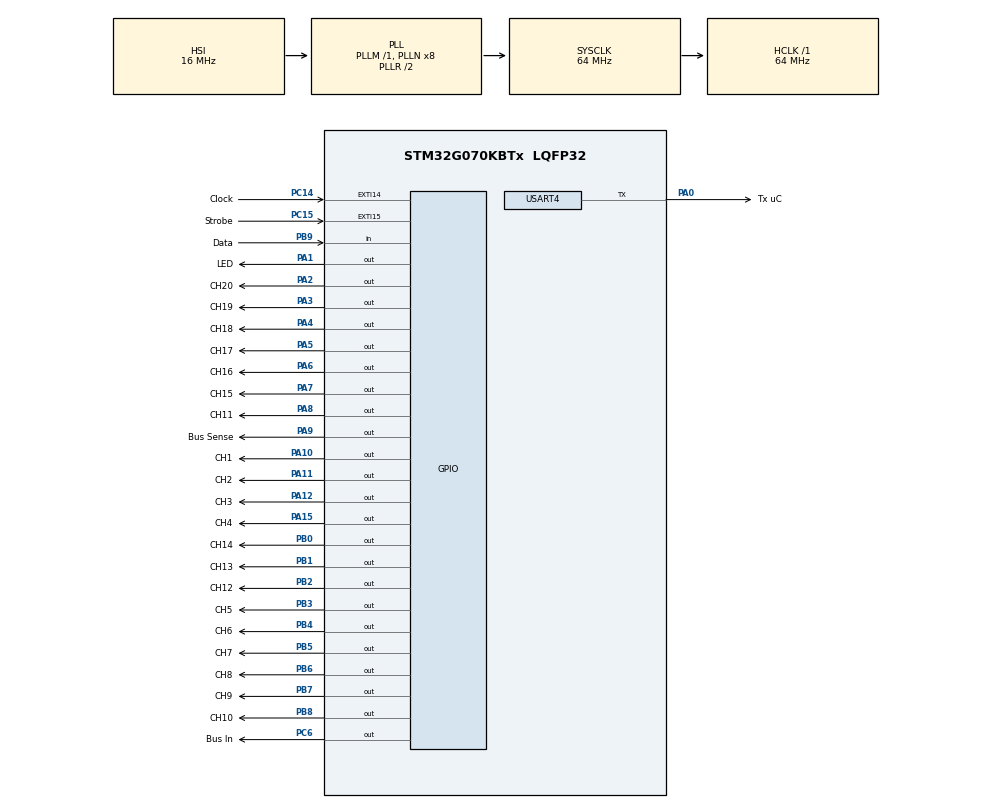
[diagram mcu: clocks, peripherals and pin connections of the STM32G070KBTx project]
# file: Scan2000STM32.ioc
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Dma.Request0=USART4_TX
Dma.USART4_TX.0.Direction=DMA_MEMORY_TO_PERIPH
Dma.USART4_TX.0.EventEnable=DISABLE
Dma.USART4_TX.0.Instance=DMA1_Channel1
Dma.USART4_TX.0.MemDataAlignment=DMA_MDATAALIGN_BYTE
Dma.USART4_TX.0.MemInc=DMA_MINC_ENABLE
Dma.USART4_TX.0.Mode=DMA_NORMAL
Dma.USART4_TX.0.PeriphDataAlignment=DMA_PDATAALIGN_BYTE
Dma.USART4_TX.0.PeriphInc=DMA_PINC_DISABLE
Dma.USART4_TX.0.Polarity=HAL_DMAMUX_REQ_GEN_RISING
Dma.USART4_TX.0.Priority=DMA_PRIORITY_LOW
Dma.USART4_TX.0.RequestNumber=1
Dma.USART4_TX.0.SignalID=NONE
Dma.USART4_TX.0.SyncEnable=DISABLE
Dma.USART4_TX.0.SyncPolarity=HAL_DMAMUX_SYNC_NO_EVENT
Dma.USART4_TX.0.SyncRequestNumber=1
Dma.USART4_TX.0.SyncSignalID=NONE
Mcu.Family=STM32G0
Mcu.Name=STM32G070KBTx
Mcu.Package=LQFP32
NVIC.DMA1_Channel1_IRQn=true\:0\:0\:true\:false\:true\:false\:true\:true
NVIC.EXTI4_15_IRQn=true\:1\:0\:true\:false\:true\:true\:true\:true
NVIC.USART3_4_IRQn=true\:0\:0\:false\:false\:true\:true\:true\:true
PA0.GPIO_Label=Tx uC
PA0.GPIO_ModeDefaultOD=GPIO_MODE_AF_OD
PA0.GPIO_PuPdOD=GPIO_PULLUP
PA0.Mode=Half_duplex(single_wire_mode)
PA0.Signal=USART4_TX
PA1.GPIO_Label=LED
PA1.GPIO_Speed=GPIO_SPEED_FREQ_VERY_HIGH
PA1.Signal=GPIO_Output
PA10.GPIO_Label=CH1
PA10.Signal=GPIO_Output
PA11\ [PA9].GPIO_Label=CH2
PA11\ [PA9].Signal=GPIO_Output
PA12\ [PA10].GPIO_Label=CH3
PA12\ [PA10].Signal=GPIO_Output
PA13.GPIO_Label=Prog SWDIO
PA13.Mode=Serial_Wire
PA13.Signal=SYS_SWDIO
PA14-BOOT0.GPIO_Label=Prog SWCLK
PA14-BOOT0.Mode=Serial_Wire
PA14-BOOT0.Signal=SYS_SWCLK
PA15.GPIO_Label=CH4
PA15.Signal=GPIO_Output
PA2.GPIO_Label=CH20
PA2.Signal=GPIO_Output
PA3.GPIO_Label=CH19
PA3.Signal=GPIO_Output
PA4.GPIO_Label=CH18
PA4.Signal=GPIO_Output
PA5.GPIO_Label=CH17
PA5.Signal=GPIO_Output
PA6.GPIO_Label=CH16
PA6.Signal=GPIO_Output
PA7.GPIO_Label=CH15
PA7.Signal=GPIO_Output
PA8.GPIO_Label=CH11
PA8.Signal=GPIO_Output
PA9.GPIO_Label=Bus Sense
PA9.Signal=GPIO_Output
PB0.GPIO_Label=CH14
PB0.Signal=GPIO_Output
PB1.GPIO_Label=CH13
PB1.Signal=GPIO_Output
PB2.GPIO_Label=CH12
PB2.Signal=GPIO_Output
PB3.GPIO_Label=CH5
PB3.Signal=GPIO_Output
PB4.GPIO_Label=CH6
PB4.Signal=GPIO_Output
PB5.GPIO_Label=CH7
PB5.Signal=GPIO_Output
PB6.GPIO_Label=CH8
PB6.Signal=GPIO_Output
PB7.GPIO_Label=CH9
PB7.Signal=GPIO_Output
PB8.GPIO_Label=CH10
PB8.Signal=GPIO_Output
PB9.GPIO_Label=Data
PB9.Signal=GPIO_Input
PC14-OSC32_IN\ (PC14).GPIO_Label=Clock
PC14-OSC32_IN\ (PC14).GPIO_ModeDefaultEXTI=GPIO_MODE_IT_RISING
PC14-OSC32_IN\ (PC14).Signal=GPXTI14
PC15-OSC32_OUT\ (PC15).GPIO_Label=Strobe
PC15-OSC32_OUT\ (PC15).GPIO_ModeDefaultEXTI=GPIO_MODE_IT_RISING
PC15-OSC32_OUT\ (PC15).Signal=GPXTI15
PC6.GPIO_Label=Bus In
PC6.Signal=GPIO_Output
ProjectManager.HeapSize=0x200
ProjectManager.StackSize=0x400
ProjectManager.TargetToolchain=Makefile
RCC.ADCFreq_Value=64000000
RCC.AHBFreq_Value=64000000
RCC.CortexFreq_Value=64000000
RCC.EXTERNAL_CLOCK_VALUE=48000
RCC.HCLKFreq_Value=64000000
RCC.HSE_VALUE=8000000
RCC.HSI_VALUE=16000000
RCC.LSE_VALUE=32768
RCC.SYSCLKFreq_VALUE=64000000
RCC.SYSCLKSource=RCC_SYSCLKSOURCE_PLLCLK
RCC.VCOOutputFreq_Value=128000000
USART4.Mode=MODE_TX
USART4.VirtualMode-Half_duplex(single_wire_mode)=VM_ASYNC
VP_SYS_VS_DBSignals.Mode=DisableDeadBatterySignals
board=custom

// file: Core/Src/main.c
/* USER CODE BEGIN Header */
/**
  ******************************************************************************
  * @file           : main.c
  * @brief          : Main program body
  ******************************************************************************
  * @attention
  *
  * <h2><center>&copy; Copyright (c) 2021 STMicroelectronics.
  * All rights reserved.</center></h2>
  *
  * This software component is licensed by ST under BSD 3-Clause license,
  * the "License"; You may not use this file except in compliance with the
  * License. You may obtain a copy of the License at:
  *                        opensource.org/licenses/BSD-3-Clause
  *
  ******************************************************************************
  */
/* USER CODE END Header */
#include "main.h"

/* USER CODE BEGIN Includes */
#include "decoder.h"
#include <stdbool.h>
#include <stdint.h>
#include <stdio.h>
#include <string.h>
/* USER CODE END Includes */

/* USER CODE BEGIN PD */

// if LOGLEVEL < 3 is set:
// * logs some additional debug info
#ifndef LOGLEVEL
#define LOGLEVEL 3  // Warning
#endif

#ifndef VERSION
  #define VERSION "Unknown"
#endif
// Double-expansion required to stringify the version string later
#define STR1(x)  #x
#define STR(x)  STR1(x)

// Workaround since newlib-nano does not support uint64_t in printf()
#define PRI_UINT64_C_Val(value) ((unsigned long) (value>>32)),((unsigned long)value)
#define PRI_UINT64 "%08lx %08lx"

/* USER CODE END PD */

UART_HandleTypeDef huart4;
DMA_HandleTypeDef hdma_usart4_tx;

/* USER CODE BEGIN PV */
// set by both the interrupt handler and the main loop, used by the main loop
volatile uint32_t timeSinceLastClock = 0;
// below are all maintained and used by the interrupt handler.
uint64_t receivedSequence = 0;
volatile uint8_t receivedCounter = 0; // also read by the main loop
volatile uint32_t channelState = 0;
uint8_t uartsinglemessage[256], uartbuffer[2000], uartTransmitBuffer[2000];

// Pin mapping of the output pins to the relays
GPIO_TypeDef* GPIOsequence[] = {CH1_GPIO_Port, CH2_GPIO_Port, CH3_GPIO_Port, CH4_GPIO_Port, CH5_GPIO_Port, CH6_GPIO_Port, CH7_GPIO_Port, CH8_GPIO_Port, CH9_GPIO_Port, CH10_GPIO_Port, CH11_GPIO_Port, CH12_GPIO_Port, CH13_GPIO_Port, CH14_GPIO_Port, CH15_GPIO_Port, CH16_GPIO_Port, CH17_GPIO_Port, CH18_GPIO_Port, CH19_GPIO_Port, CH20_GPIO_Port};
uint32_t PinSequence[] = {CH1_Pin, CH2_Pin, CH3_Pin, CH4_Pin, CH5_Pin, CH6_Pin, CH7_Pin, CH8_Pin, CH9_Pin, CH10_Pin, CH11_Pin, CH12_Pin, CH13_Pin, CH14_Pin, CH15_Pin, CH16_Pin, CH17_Pin, CH18_Pin, CH19_Pin, CH20_Pin};

// channelState is 32 bit, and is organised in sequence: 0 = CH1 ... 19=CH20, 20 = 4W
// The following bitmasks are for the channelState
#define CHANNELSTATE_BITMASK_BANK1 0x003FF
#define CHANNELSTATE_BITMASK_BANK2 0xFFC00
#define CHANNELSTATE_BITMASK_4W 0x100000

// The interrupt handler IS NOT ALLOWED TO BLOCK. Therefore, we log messages in a buffer that we print from the main loop.
struct msgInfo {
  enum {msgUnknown = 0, msgOK, msgIgnored, msgLengthError, msgDataError, msgRelayError} state;
  uint8_t receivedCounter;
  uint64_t receivedSequence;
  uint32_t channelState;
  uint32_t timestamp;
};

// circular buffer for messages, used between interrupt handler and main loop
struct msgInfo msgBuffer[UINT8_MAX+1]; // The number of elements is set by the datatype of msgReadLevel/msgWriteLevel
uint8_t msgReadLevel; // to be set only from the main loop.
volatile uint8_t msgWriteLevel; // to be set only from the interrupt handler

/* USER CODE END PV */

void SystemClock_Config(void);
static void MX_GPIO_Init(void);
static void MX_DMA_Init(void);
static void MX_USART4_UART_Init(void);
/* USER CODE BEGIN PFP */
void UARTSendDMA(void);
static void MsgBuffer_Init(void);
static void MsgBuffer_add(struct msgInfo msg); // to be called only from the interrupt handler
static void MsgBuffer_print(void);

#ifdef __GNUC__
/* With GCC/RAISONANCE, small printf (option LD Linker->Libraries->Small printf
   set to 'Yes') calls __io_putchar() */
#define PUTCHAR_PROTOTYPE int __io_putchar(int ch)
extern int __io_putchar(int ch) __attribute__((weak));
#else
#define PUTCHAR_PROTOTYPE int fputc(int ch, FILE *f)
#endif /* __GNUC__ */
/* USER CODE END PFP */

int main(void)
{

  /* MCU Configuration--------------------------------------------------------*/

  /* Reset of all peripherals, Initializes the Flash interface and the Systick. */
  HAL_Init();

  /* Configure the system clock */
  SystemClock_Config();

  /* Initialize all configured peripherals */
  MX_GPIO_Init();
  MX_DMA_Init();
  MX_USART4_UART_Init();
  /* USER CODE BEGIN 2 */
  //__HAL_DMA_DISABLE_IT(huart4.hdmarx, DMA_IT_HT); // Disable Half Transfer Interrupt
  MsgBuffer_Init();
  printf("\n===============\nBooting, SCAN2000-20 FW version " STR(VERSION) "\n");
  for (uint8_t i=0; i < 6; i++) {
    HAL_Delay(100); // sleep for 100 ms
    HAL_GPIO_TogglePin(LED_GPIO_Port, LED_Pin);
  }
  HAL_GPIO_WritePin(LED_GPIO_Port, LED_Pin, GPIO_PIN_RESET); // led off
#if LOGLEVEL < 2
  printf("Log level: DEBUG\n");
#elif LOGLEVEL < 3
    printf("Log level: INFO\n");
#endif
  /* USER CODE END 2 */

  /* Infinite loop */
  /* USER CODE BEGIN WHILE */
  while (1)
  {
    MsgBuffer_print();
    /* USER CODE END WHILE */

  }
}

void SystemClock_Config(void)
{
  RCC_OscInitTypeDef RCC_OscInitStruct = {0};
  RCC_ClkInitTypeDef RCC_ClkInitStruct = {0};

  /** Configure the main internal regulator output voltage
  */
  HAL_PWREx_ControlVoltageScaling(PWR_REGULATOR_VOLTAGE_SCALE1);

  /** Initializes the RCC Oscillators according to the specified parameters
  * in the RCC_OscInitTypeDef structure.
  */
  RCC_OscInitStruct.OscillatorType = RCC_OSCILLATORTYPE_HSI;
  RCC_OscInitStruct.HSIState = RCC_HSI_ON;
  RCC_OscInitStruct.HSIDiv = RCC_HSI_DIV1;
  RCC_OscInitStruct.HSICalibrationValue = RCC_HSICALIBRATION_DEFAULT;
  RCC_OscInitStruct.PLL.PLLState = RCC_PLL_ON;
  RCC_OscInitStruct.PLL.PLLSource = RCC_PLLSOURCE_HSI;
  RCC_OscInitStruct.PLL.PLLM = RCC_PLLM_DIV1;
  RCC_OscInitStruct.PLL.PLLN = 8;
  RCC_OscInitStruct.PLL.PLLP = RCC_PLLP_DIV2;
  RCC_OscInitStruct.PLL.PLLR = RCC_PLLR_DIV2;
  if (HAL_RCC_OscConfig(&RCC_OscInitStruct) != HAL_OK)
  {
    Error_Handler();
  }

  /** Initializes the CPU, AHB and APB buses clocks
  */
  RCC_ClkInitStruct.ClockType = RCC_CLOCKTYPE_HCLK|RCC_CLOCKTYPE_SYSCLK
                              |RCC_CLOCKTYPE_PCLK1;
  RCC_ClkInitStruct.SYSCLKSource = RCC_SYSCLKSOURCE_PLLCLK;
  RCC_ClkInitStruct.AHBCLKDivider = RCC_SYSCLK_DIV1;
  RCC_ClkInitStruct.APB1CLKDivider = RCC_HCLK_DIV1;

  if (HAL_RCC_ClockConfig(&RCC_ClkInitStruct, FLASH_LATENCY_2) != HAL_OK)
  {
    Error_Handler();
  }
}

static void MX_USART4_UART_Init(void)
{

  huart4.Instance = USART4;
  huart4.Init.BaudRate = 115200;
  huart4.Init.WordLength = UART_WORDLENGTH_8B;
  huart4.Init.StopBits = UART_STOPBITS_1;
  huart4.Init.Parity = UART_PARITY_NONE;
  huart4.Init.Mode = UART_MODE_TX;
  huart4.Init.HwFlowCtl = UART_HWCONTROL_NONE;
  huart4.Init.OverSampling = UART_OVERSAMPLING_16;
  huart4.Init.OneBitSampling = UART_ONE_BIT_SAMPLE_DISABLE;
  huart4.Init.ClockPrescaler = UART_PRESCALER_DIV1;
  huart4.AdvancedInit.AdvFeatureInit = UART_ADVFEATURE_NO_INIT;
  if (HAL_HalfDuplex_Init(&huart4) != HAL_OK)
  {
    Error_Handler();
  }

}

static void MX_DMA_Init(void)
{

  /* DMA controller clock enable */
  __HAL_RCC_DMA1_CLK_ENABLE();

  /* DMA interrupt init */
  /* DMA1_Channel1_IRQn interrupt configuration */
  HAL_NVIC_SetPriority(DMA1_Channel1_IRQn, 0, 0);
  HAL_NVIC_EnableIRQ(DMA1_Channel1_IRQn);

}

static void MX_GPIO_Init(void)
{
  GPIO_InitTypeDef GPIO_InitStruct = {0};

  /* GPIO Ports Clock Enable */
  __HAL_RCC_GPIOB_CLK_ENABLE();
  __HAL_RCC_GPIOC_CLK_ENABLE();
  __HAL_RCC_GPIOA_CLK_ENABLE();

  /*Configure GPIO pin Output Level */
  HAL_GPIO_WritePin(GPIOA, LED_Pin|CH20_Pin|CH19_Pin|CH18_Pin
                          |CH17_Pin|CH16_Pin|CH15_Pin|CH11_Pin
                          |Bus_Sense_Pin|CH1_Pin|CH2_Pin|CH3_Pin
                          |CH4_Pin, GPIO_PIN_RESET);

  /*Configure GPIO pin Output Level */
  HAL_GPIO_WritePin(GPIOB, CH14_Pin|CH13_Pin|CH12_Pin|CH5_Pin
                          |CH6_Pin|CH7_Pin|CH8_Pin|CH9_Pin
                          |CH10_Pin, GPIO_PIN_RESET);

  /*Configure GPIO pin Output Level */
  HAL_GPIO_WritePin(Bus_In_GPIO_Port, Bus_In_Pin, GPIO_PIN_RESET);

  /*Configure GPIO pin : Data_Pin */
  GPIO_InitStruct.Pin = Data_Pin;
  GPIO_InitStruct.Mode = GPIO_MODE_INPUT;
  GPIO_InitStruct.Pull = GPIO_NOPULL;
  HAL_GPIO_Init(Data_GPIO_Port, &GPIO_InitStruct);

  /*Configure GPIO pins : Clock_Pin Strobe_Pin */
  GPIO_InitStruct.Pin = Clock_Pin|Strobe_Pin;
  GPIO_InitStruct.Mode = GPIO_MODE_IT_RISING;
  GPIO_InitStruct.Pull = GPIO_NOPULL;
  HAL_GPIO_Init(GPIOC, &GPIO_InitStruct);

  /*Configure GPIO pin : LED_Pin */
  GPIO_InitStruct.Pin = LED_Pin;
  GPIO_InitStruct.Mode = GPIO_MODE_OUTPUT_PP;
  GPIO_InitStruct.Pull = GPIO_NOPULL;
  GPIO_InitStruct.Speed = GPIO_SPEED_FREQ_VERY_HIGH;
  HAL_GPIO_Init(LED_GPIO_Port, &GPIO_InitStruct);

  /*Configure GPIO pins : CH20_Pin CH19_Pin CH18_Pin CH17_Pin
                           CH16_Pin CH15_Pin CH11_Pin Bus_Sense_Pin
                           CH1_Pin CH2_Pin CH3_Pin CH4_Pin */
  GPIO_InitStruct.Pin = CH20_Pin|CH19_Pin|CH18_Pin|CH17_Pin
                          |CH16_Pin|CH15_Pin|CH11_Pin|Bus_Sense_Pin
                          |CH1_Pin|CH2_Pin|CH3_Pin|CH4_Pin;
  GPIO_InitStruct.Mode = GPIO_MODE_OUTPUT_PP;
  GPIO_InitStruct.Pull = GPIO_NOPULL;
  GPIO_InitStruct.Speed = GPIO_SPEED_FREQ_LOW;
  HAL_GPIO_Init(GPIOA, &GPIO_InitStruct);

  /*Configure GPIO pins : CH14_Pin CH13_Pin CH12_Pin CH5_Pin
                           CH6_Pin CH7_Pin CH8_Pin CH9_Pin
                           CH10_Pin */
  GPIO_InitStruct.Pin = CH14_Pin|CH13_Pin|CH12_Pin|CH5_Pin
                          |CH6_Pin|CH7_Pin|CH8_Pin|CH9_Pin
                          |CH10_Pin;
  GPIO_InitStruct.Mode = GPIO_MODE_OUTPUT_PP;
  GPIO_InitStruct.Pull = GPIO_NOPULL;
  GPIO_InitStruct.Speed = GPIO_SPEED_FREQ_LOW;
  HAL_GPIO_Init(GPIOB, &GPIO_InitStruct);

  /*Configure GPIO pin : Bus_In_Pin */
  GPIO_InitStruct.Pin = Bus_In_Pin;
  GPIO_InitStruct.Mode = GPIO_MODE_OUTPUT_PP;
  GPIO_InitStruct.Pull = GPIO_NOPULL;
  GPIO_InitStruct.Speed = GPIO_SPEED_FREQ_LOW;
  HAL_GPIO_Init(Bus_In_GPIO_Port, &GPIO_InitStruct);

  /* EXTI interrupt init*/
  HAL_NVIC_SetPriority(EXTI4_15_IRQn, 1, 0);
  HAL_NVIC_EnableIRQ(EXTI4_15_IRQn);

}

/* USER CODE BEGIN 4 */

static void MsgBuffer_Init(void) {
  memset(msgBuffer, 0, sizeof(msgBuffer));
  msgWriteLevel = 0;
  msgReadLevel = 0;
}

/*
 * Add a message to the message queue.
 * to be called only from the interrupt handler.
 */
static void MsgBuffer_add(struct msgInfo msg) {
  memcpy(&msgBuffer[msgWriteLevel++], &msg, sizeof(msg));
}

static void MsgBuffer_print(void) {
  struct msgInfo msg;
  char outputstate[24+2+1]; // 24 + 2 spaces + null
  int bufferLeft = sizeof(uartbuffer);  // The number of characters remaining in the output buffer, incl. the null-byte
  while (msgReadLevel != msgWriteLevel) {
    #if LOGLEVEL > 2
        // Skip printing msgOK unless loglevel is DEBUG or INFO
        if (msgBuffer[msgReadLevel].state == msgOK) {
          msgReadLevel++;
          continue;
        }
    #endif
    #if LOGLEVEL > 1
      // Skip printing msgIgnored unless loglevel is DEBUG
      if (msgBuffer[msgReadLevel].state == msgIgnored) {
          msgReadLevel++;
          continue;
      }
    #endif
    memcpy(&msg, &(msgBuffer[msgReadLevel]), sizeof(msg));
    const int headerSize = sprintf((char *)uartsinglemessage, "%lu - ", msg.timestamp);
    bufferLeft -= headerSize;  // headerSize is always >=0, sprintf will not error out
    if (bufferLeft <= 0) {  // Use <= as the null byte needs the extra byte
        // No more space left in the buffer. Try again after flushing the buffer.
        break;
    }
    strcat((char *)uartbuffer, (char *)uartsinglemessage);
    int offset = 0;
    for (uint8_t i=0; i<24; i++) {
      const bool b = msg.channelState & (1 << i);
      if ((i == 10) || (i == 20)) {
        outputstate[i+offset] = ' ';
        offset++;
      }
      outputstate[i+offset] = b ? '1': '0';
    }
    outputstate[sizeof(outputstate) - 1] = '\0';
    int bodySize;  // headerSize is always >=0, sprintf will not error out
    if (msg.state == msgOK) {
      bodySize = sprintf((char *)uartsinglemessage, "INFO - OK - %u bit command : 0x" PRI_UINT64 ". Channel state => %s.\n", (unsigned int)msg.receivedCounter, PRI_UINT64_C_Val(msg.receivedSequence), outputstate);
    } else if (msg.state == msgIgnored) {
      bodySize = sprintf((char *)uartsinglemessage, "DEBUG - IG - %u bit NULL command, ignored.\n", (unsigned int)msg.receivedCounter);
    } else if (msg.state == msgLengthError) {
      bodySize = sprintf((char *)uartsinglemessage, "ERROR - Message of invalid length - %u bit command, dropping.\n", (unsigned int)msg.receivedCounter);
    } else if (msg.state == msgDataError) {
      bodySize = sprintf((char *)uartsinglemessage, "ERROR - Invalid command - %u bit command : 0x" PRI_UINT64 ", dropping.\n", (unsigned int)msg.receivedCounter, PRI_UINT64_C_Val(msg.receivedSequence));
    } else if (msg.state == msgRelayError) {
      bodySize = sprintf((char *)uartsinglemessage, "ERROR - Invalid relay state - %u bit command : 0x" PRI_UINT64 ". Relay state requested: %s, dropping.\n", (unsigned int)msg.receivedCounter, PRI_UINT64_C_Val(msg.receivedSequence), outputstate);
    } else {
      bodySize = sprintf((char *)uartsinglemessage, "ERROR - Unknown error - %u bit command : 0x" PRI_UINT64 ". Relay state requested: %s, dropping.\n", (unsigned int)msg.receivedCounter, PRI_UINT64_C_Val(msg.receivedSequence), outputstate);
    }
    bufferLeft -= bodySize;
    if (bufferLeft <= 0) {  // Use <= as the null byte needs the extra byte
        // No more space left in the buffer. Try again after flushing the buffer.
        // Remove the header already written to the buffer
        bufferLeft += bodySize + headerSize;
        uartbuffer[sizeof(uartbuffer)-bufferLeft] = '\0';
        break;
    }
    strcat((char *)uartbuffer, (char *)uartsinglemessage);
    msgReadLevel++;
  }
  // Send the message if at least one message was created
  if (uartbuffer[0] != '\0') {
    UARTSendDMA();
    uartbuffer[0] = '\0';
  }
}

bool validateRelayState(const uint32_t channelState) {
    // A valid state is the following:
    // - If the two relay banks are connected, only one relay may be opened
    // - If the banks are disconnected (4W mode), one relay in each bank may be connected
    const int countBank1 = __builtin_popcountl(channelState & CHANNELSTATE_BITMASK_BANK1);
    const int countBank2 = __builtin_popcountl(channelState & CHANNELSTATE_BITMASK_BANK2);
    const bool ch21Enabled = (channelState & CHANNELSTATE_BITMASK_4W);
    return
        (!ch21Enabled && (countBank1 + countBank2 <= 1))   // If "CH21" (4W Relay) is disabled
        || (ch21Enabled && (countBank1 <= 1 && countBank2 <= 1)); // If "CH21" (4W Relay) is enabled
}

void setRelays(const uint32_t newChannelState) {
    // If we have a new state, update the relays
    if (newChannelState != channelState) {
        const uint32_t resetChannels = ~newChannelState & channelState;  // Channels that need to be turned off
        const uint32_t setChannels = ~channelState & newChannelState;  // Channels that need to be turned on
        channelState = newChannelState;

        // First disconnect all channels, that need to be disconnected
        for (size_t i=0; i<sizeof(PinSequence)/sizeof(PinSequence[0]); i++) {
            if (!(resetChannels & (1 << i))) {
                HAL_GPIO_WritePin(GPIOsequence[i], PinSequence[i], GPIO_PIN_RESET);
            }
        }

        // If CH11-CH20 are turned off, disconnect them from all buses to reduce the isolation capacitance
        // else connect the CH11-CH20 bus either to the 4W output or the normal sense output (DMM input)
        if (!(channelState & CHANNELSTATE_BITMASK_BANK2)) {
            HAL_GPIO_WritePin(Bus_Sense_GPIO_Port, Bus_Sense_Pin, GPIO_PIN_RESET);
            HAL_GPIO_WritePin(Bus_In_GPIO_Port, Bus_In_Pin, GPIO_PIN_RESET);
        } else {
            const bool bit_4W = (channelState & CHANNELSTATE_BITMASK_4W);
            HAL_GPIO_WritePin(Bus_Sense_GPIO_Port, Bus_Sense_Pin, bit_4W);
            HAL_GPIO_WritePin(Bus_In_GPIO_Port, Bus_In_Pin, !bit_4W);
        }

        // Finally connect all channels, that need to be connected
        for (size_t i=0; i<sizeof(PinSequence)/sizeof(PinSequence[0]); i++) {
            if (setChannels & (1 << i)) {
                HAL_GPIO_WritePin(GPIOsequence[i], PinSequence[i], GPIO_PIN_SET);
            }
        }
    }
}

void HAL_GPIO_EXTI_Rising_Callback(uint16_t GPIO_Pin) {
    // Sampling the data on rising clocks does not work with the K2002
    // It has a clock of 2 MHz, so the bit is valid for 250 ns.
    // According to https://community.arm.com/arm-community-blogs/b/architectures-and-processors-blog/posts/beginner-guide-on-interrupt-latency-and-interrupt-latency-of-the-arm-cortex-m-processors
    // the STM32G070KBT6 (Cortex M0+) has a latency of 16 cycles.
    // At a maximum clock of 64 MHz, this is a latency of 250 ns.
    if (HAL_GetTick() - timeSinceLastClock > 1) {
        // Wipe everything we received if the last clock pulse received was more than 2ms the past.
        // Normally clock the period is 10us, and strobe follows within 20us, so this will do.
        // The handling of the clock and strobe, and the update of timeSinceLastClock
        // is inside the interrupt handler (HAL_GPIO_EXTI_Rising_Callback), so the code here must be
        // somewhat robust against concurrent access.
        receivedCounter = 0;
    }

    if (GPIO_Pin == Clock_Pin) {
        // Clock in a new bit
        if (!receivedCounter) {
            receivedSequence = 0x00;
        } else {
            receivedSequence = receivedSequence << 1;
        }
        receivedSequence |= HAL_GPIO_ReadPin(Data_GPIO_Port, Data_Pin);
        receivedCounter++;
        timeSinceLastClock = HAL_GetTick();
    } else if (GPIO_Pin == Strobe_Pin) {
        // The sequence is over, decode it now
        // Toggle the LED on every message
        HAL_GPIO_TogglePin(LED_GPIO_Port, LED_Pin);
        struct msgInfo msg;
        msg.state = msgUnknown;
        msg.timestamp = HAL_GetTick();
        msg.receivedCounter = receivedCounter;
        msg.receivedSequence = receivedSequence;
        msg.channelState = 0; // just a default value. Will be overwritten when possible.

        uint32_t newChannelState = channelState;
        uint32_t relaySetRegister = 0x00, relayUnsetRegister = 0x00;
        decodeResult_t decodeResult = decodeLengthError; // error state by default

        if (receivedCounter == 24) {
            // We have a command for a 10 channel SCAN2000/SCAN2001 card
            decodeResult = decode_10channels((uint32_t)receivedSequence, &relaySetRegister, &relayUnsetRegister);
        } else if (receivedCounter == 48) {
            decodeResult = decode_20channels(receivedSequence, &relaySetRegister, &relayUnsetRegister);
        } else {
            // Do not process the command, if it is of unknown size
            decodeResult = decodeLengthError;
        }

        switch (decodeResult) {
            case decodeOK:
                // Now apply the updates
                // We do not blindly apply the requested state, but rather test whether it is valid first to make sure
                // we do damage neither the relays nor the DMM.
                newChannelState |= relaySetRegister;    // closed channels
                newChannelState &= ~relayUnsetRegister; // opened channels

                // Test if the new state is valid and if so, apply it
                if (validateRelayState(newChannelState)) {
                    setRelays(newChannelState);
                    msg.state = msgOK;
                } else {
                    msg.state = msgRelayError;
                }
                break;
            case decodeIgnored:
                msg.state = msgIgnored;
                break;
            case decodeDataError:
                msg.state = msgDataError;
                break;
            case decodeLengthError:
                msg.state = msgLengthError;
        }

        // signal the message to the print/log loop
        msg.channelState = newChannelState;
        MsgBuffer_add(msg);
        // and init for the next command
        receivedSequence = 0x00;
        receivedCounter = 0;
    }
}

void UARTSendDMA(void) {
    // Block until the previous transmission is complete.
    // In the meantime the uartbuffer will keep buffering
    // all output
    while(__HAL_UART_GET_FLAG(&huart4, UART_FLAG_TC) != 1) {}
    strcpy((char *)uartTransmitBuffer, (char *)uartbuffer);
    HAL_UART_Transmit_DMA(
        &huart4,
        uartTransmitBuffer,
        strlen((char *)uartTransmitBuffer)
    );
}

int _write(int file, char *ptr, int len)
{
	for (int DataIdx = 0; DataIdx < len; DataIdx++)
	{
		__io_putchar(*ptr++);
	}
	return len;
}

/**
  * @brief  Retargets the C library printf function to the USART.
  * @param  ch Character to print
  * @retval HAL status
  */
PUTCHAR_PROTOTYPE
{
  /* Place your implementation of fputc here */
  /* e.g. write a character to the USART1 and Loop until the end of transmission */
  return HAL_UART_Transmit(&huart4, (uint8_t *)&ch, 1, 1000);
}

/* USER CODE END 4 */

void Error_Handler(void)
{
  __disable_irq();
  while (1)
  {
  }
}
